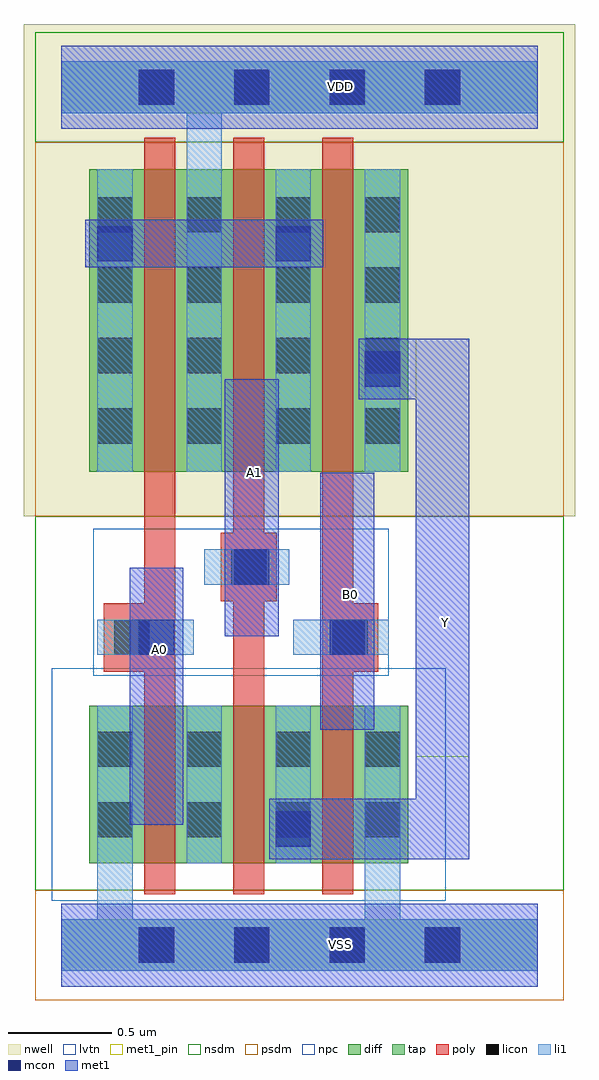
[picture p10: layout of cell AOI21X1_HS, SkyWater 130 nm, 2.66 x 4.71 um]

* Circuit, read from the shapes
.subckt AOI21X1_HS A0 A1 B0 VDD VSS Y
XM1 n1 A0 VSS VSS sky130_fd_pr__nfet_01v8_lvt w=0.76 l=0.15
XM2 Y A1 n1 VSS sky130_fd_pr__nfet_01v8_lvt w=0.76 l=0.15
XM3 VSS B0 Y VSS sky130_fd_pr__nfet_01v8_lvt w=0.76 l=0.15
XM4 VDD A0 n2 VDD sky130_fd_pr__pfet_01v8 w=1.46 l=0.15
XM5 n2 A1 VDD VDD sky130_fd_pr__pfet_01v8 w=1.46 l=0.15
XM6 Y B0 n2 VDD sky130_fd_pr__pfet_01v8 w=1.46 l=0.15
.ends

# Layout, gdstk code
import gdstk
lib = gdstk.Library(unit=1e-6, precision=1e-09)
def R(c, l, rs):  # rectangles x0, y0, x1, y1
    for r in rs: c.add(gdstk.rectangle(r[:2], r[2:], *l))
def A(c, l, x, y, w, h, nx, ny, dx, dy):  # array of equal rectangles
    R(c, l, [(x+i*dx, y+j*dy, x+i*dx+w, y+j*dy+h) for i in range(nx) for j in range(ny)])
nwell = (64, 20)
diff = (65, 20)
tap = (65, 44)
poly = (66, 20)
licon = (66, 44)
li1 = (67, 20)
mcon = (67, 44)
met1_pin = (68, 16)
met1 = (68, 20)
nsdm = (93, 44)
psdm = (94, 20)
npc = (95, 20)
lvtn = (125, 44)

l1m1_c_cdns_750721774072 = lib.new_cell('L1M1_C_CDNS_750721774072')
R(l1m1_c_cdns_750721774072, li1, [(-0.085,-0.165,0.085,0.165)])
R(l1m1_c_cdns_750721774072, mcon, [(-0.085,-0.085,0.085,0.085)])
R(l1m1_c_cdns_750721774072, met1, [(-0.115,-0.145,0.115,0.145)])

l1m1_c_cdns_750721774071 = lib.new_cell('L1M1_C_CDNS_7507217740713')
R(l1m1_c_cdns_750721774071, li1, [(-0.085,-0.165,0.085,0.165)])
R(l1m1_c_cdns_750721774071, mcon, [(-0.085,-0.085,0.085,0.085)])
R(l1m1_c_cdns_750721774071, met1, [(-0.145,-0.115,0.145,0.115)])

pyl1con_c_cdns_750721774 = lib.new_cell('PYL1CON_C_CDNS_750721774073')
R(pyl1con_c_cdns_750721774, poly, [(-0.135,-0.165,0.135,0.165)])
R(pyl1con_c_cdns_750721774, licon, [(-0.085,-0.085,0.085,0.085)])
R(pyl1con_c_cdns_750721774, npc, [(-0.185,-0.185,0.185,0.185)])

l1m1_c_cdns_750721774074 = lib.new_cell('L1M1_C_CDNS_750721774074')
R(l1m1_c_cdns_750721774074, li1, [(-0.165,-0.085,0.165,0.085)])
R(l1m1_c_cdns_750721774074, mcon, [(-0.085,-0.085,0.085,0.085)])
R(l1m1_c_cdns_750721774074, met1, [(-0.115,-0.145,0.115,0.145)])

aoi21x1_hs = lib.new_cell('AOI21X1_HS')
R(aoi21x1_hs, nwell, [(-0.18,2.07,2.48,4.305), (-0.045,2.105,0.785,3.925), (0.425,2.105,1.385,3.925), (1.025,2.105,1.855,3.925), (-0.18,3.875,2.48,4.445)])
A(aoi21x1_hs, diff, 0.4, 0.395, 0.15, 0.76, 3, 1, 0.43, 0)
A(aoi21x1_hs, diff, 0.4, 2.285, 0.15, 1.46, 3, 1, 0.43, 0)
R(aoi21x1_hs, diff, [(0.135,0.395,0.4,1.155), (0.55,0.395,0.605,1.155), (0.605,0.395,0.83,1.155), (0.98,0.395,1.205,1.155), (1.205,0.395,1.26,1.155), (1.41,0.395,1.675,1.155), (0.135,2.285,0.4,3.745), (0.55,2.285,0.605,3.745), (0.605,2.285,0.83,3.745), (0.98,2.285,1.205,3.745), (1.205,2.285,1.26,3.745), (1.41,2.285,1.675,3.745)])
A(aoi21x1_hs, poly, 0.4, 0.245, 0.15, 0.055, 3, 2, 0.43, 1.005)
A(aoi21x1_hs, poly, 0.4, 0.3, 0.15, 0.095, 3, 2, 0.43, 0.855)
A(aoi21x1_hs, poly, 0.4, 0.395, 0.15, 0.76, 3, 1, 0.43, 0)
A(aoi21x1_hs, poly, 0.4, 2.135, 0.15, 0.055, 3, 2, 0.43, 1.705)
A(aoi21x1_hs, poly, 0.4, 2.19, 0.15, 0.095, 3, 2, 0.43, 1.555)
A(aoi21x1_hs, poly, 0.4, 2.285, 0.15, 1.46, 3, 1, 0.43, 0)
A(aoi21x1_hs, licon, 0.375, -0.085, 0.17, 0.17, 4, 2, 0.46, 4.14)
A(aoi21x1_hs, licon, 0.175, 0.52, 0.17, 0.17, 4, 2, 0.43, 0.34)
A(aoi21x1_hs, licon, 0.175, 2.42, 0.17, 0.17, 4, 4, 0.43, 0.34)
A(aoi21x1_hs, li1, 0.175, 2.285, 0.17, 1.46, 4, 1, 0.43, 0)
R(aoi21x1_hs, li1, [(0.175,0.395,0.345,1.155), (1.035,0.395,1.205,1.155), (1.465,0.395,1.635,1.155)])
A(aoi21x1_hs, mcon, 0.375, -0.085, 0.17, 0.17, 4, 2, 0.46, 4.14)
R(aoi21x1_hs, met1_pin, [(0.33,0.58,0.59,1.82), (1.71,0.91,1.97,2.925), (1.25,1.04,1.51,2.28), (0.79,1.49,1.05,2.73)])
A(aoi21x1_hs, nsdm, -0.005, 0.265, 0.62, 1.02, 3, 1, 0.6, 0)
R(aoi21x1_hs, nsdm, [(-0.125,0.265,2.425,2.07), (-0.125,3.875,2.425,4.405), (-0.125,3.93,2.425,4.35)])
A(aoi21x1_hs, psdm, -0.005, 2.155, 0.62, 1.72, 3, 1, 0.6, 0)
R(aoi21x1_hs, psdm, [(-0.125,-0.265,2.425,0.265), (-0.125,-0.21,2.425,0.21), (-0.125,2.07,2.425,3.875)])
R(aoi21x1_hs, npc, [(0.155,1.3,1.58,2.01)])
R(aoi21x1_hs, lvtn, [(-0.045,0.215,0.785,1.335), (0.425,0.215,1.385,1.335), (1.025,0.215,1.855,1.335)])
aoi21x1_hs.add(gdstk.FlexPath([(1.335,1.485),(1.395,1.485)], 0.15, ends=(0.075, 0), simple_path=True, layer=66, datatype=20))  # poly
aoi21x1_hs.add(gdstk.FlexPath([(1.335,1.305),(1.335,1.485)], 0.15, ends=(0, 0.075), simple_path=True, layer=66, datatype=20))  # poly
aoi21x1_hs.add(gdstk.FlexPath([(1.335,1.5),(1.335,2.27)], 0.15, ends="flush", simple_path=True, layer=66, datatype=20))  # poly
aoi21x1_hs.add(gdstk.FlexPath([(0.905,2.27),(0.905,1.305)], 0.15, ends="flush", simple_path=True, layer=66, datatype=20))  # poly
aoi21x1_hs.add(gdstk.FlexPath([(0.475,2.27),(0.475,1.305)], 0.15, ends="flush", simple_path=True, layer=66, datatype=20))  # poly
aoi21x1_hs.add(gdstk.FlexPath([(1.55,0),(2.3,0)], 0.25, ends=(0.085, 0), simple_path=True, layer=67, datatype=20))  # li1
aoi21x1_hs.add(gdstk.FlexPath([(0.26,0),(1.55,0)], 0.25, ends=(0.085, 0.085), simple_path=True, layer=67, datatype=20))  # li1
aoi21x1_hs.add(gdstk.FlexPath([(0.69,4.14),(2.3,4.14)], 0.25, ends=(0.085, 0), simple_path=True, layer=67, datatype=20))  # li1
aoi21x1_hs.add(gdstk.FlexPath([(0,4.14),(0.69,4.14)], 0.25, ends=(0, 0.085), simple_path=True, layer=67, datatype=20))  # li1
aoi21x1_hs.add(gdstk.FlexPath([(1.55,0.59),(1.55,0)], 0.17, ends=(0, 0.125), simple_path=True, layer=67, datatype=20))  # li1
aoi21x1_hs.add(gdstk.FlexPath([(0.69,3.55),(0.69,4.14)], 0.17, ends=(0, 0.125), simple_path=True, layer=67, datatype=20))  # li1
aoi21x1_hs.add(gdstk.FlexPath([(0.26,0.59),(0.26,0)], 0.17, ends=(0, 0.125), simple_path=True, layer=67, datatype=20))  # li1
aoi21x1_hs.add(gdstk.FlexPath([(0,0),(0.26,0)], 0.25, ends=(0, 0.085), simple_path=True, layer=67, datatype=20))  # li1
aoi21x1_hs.add(gdstk.FlexPath([(0.175,1.485),(0.525,1.485)], 0.17, ends="flush", simple_path=True, layer=67, datatype=20))  # li1
aoi21x1_hs.add(gdstk.FlexPath([(1.12,1.485),(1.58,1.485)], 0.17, ends="flush", simple_path=True, layer=67, datatype=20))  # li1
aoi21x1_hs.add(gdstk.FlexPath([(0.69,1.825),(1.09,1.825)], 0.17, ends="flush", simple_path=True, layer=67, datatype=20))  # li1
aoi21x1_hs.add(gdstk.FlexPath([(1.215,1.485),(1.56,1.485)], 0.17, ends="flush", simple_path=True, layer=67, datatype=20))  # li1
aoi21x1_hs.add(gdstk.FlexPath([(0.295,1.485),(0.64,1.485)], 0.17, ends="flush", simple_path=True, layer=67, datatype=20))  # li1
aoi21x1_hs.add(gdstk.FlexPath([(0.755,1.825),(1.1,1.825)], 0.17, ends="flush", simple_path=True, layer=67, datatype=20))  # li1
aoi21x1_hs.add(gdstk.FlexPath([(0.69,0.395),(0.69,1.155)], 0.17, ends="flush", simple_path=True, layer=67, datatype=20))  # li1
aoi21x1_hs.add(gdstk.FlexPath([(0,4.14),(2.3,4.14)], 0.4, ends="flush", simple_path=True, layer=68, datatype=16))  # met1_pin
aoi21x1_hs.add(gdstk.FlexPath([(0,0),(2.3,0)], 0.4, ends="flush", simple_path=True, layer=68, datatype=16))  # met1_pin
aoi21x1_hs.add(gdstk.FlexPath([(0,4.14),(2.3,4.14)], 0.4, ends="flush", simple_path=True, layer=68, datatype=20))  # met1
aoi21x1_hs.add(gdstk.FlexPath([(1.84,2.78),(1.55,2.78)], 0.29, ends="flush", simple_path=True, layer=68, datatype=20))  # met1
aoi21x1_hs.add(gdstk.FlexPath([(0.46,1.82),(0.46,0.58)], 0.26, ends="flush", simple_path=True, layer=68, datatype=20))  # met1
aoi21x1_hs.add(gdstk.FlexPath([(1.84,0.56),(1.12,0.56)], 0.29, ends=(0.13, 0.115), simple_path=True, layer=68, datatype=20))  # met1
aoi21x1_hs.add(gdstk.FlexPath([(1.84,2.925),(1.84,0.755)], 0.26, ends=(0, 0.145), simple_path=True, layer=68, datatype=20))  # met1
aoi21x1_hs.add(gdstk.FlexPath([(0,0),(2.3,0)], 0.4, ends="flush", simple_path=True, layer=68, datatype=20))  # met1
aoi21x1_hs.add(gdstk.FlexPath([(0.92,1.49),(0.92,2.73)], 0.26, ends="flush", simple_path=True, layer=68, datatype=20))  # met1
aoi21x1_hs.add(gdstk.FlexPath([(1.38,2.28),(1.38,1.04)], 0.26, ends="flush", simple_path=True, layer=68, datatype=20))  # met1
aoi21x1_hs.add(gdstk.FlexPath([(0.405,3.385),(0.975,3.385)], 0.23, ends="flush", simple_path=True, layer=68, datatype=20))  # met1
aoi21x1_hs.add(gdstk.FlexPath([(0,4.14),(2.3,4.14)], 0.25, ends="flush", simple_path=True, layer=65, datatype=44))  # tap
aoi21x1_hs.add(gdstk.FlexPath([(0,0),(2.3,0)], 0.25, ends="flush", simple_path=True, layer=65, datatype=44))  # tap
aoi21x1_hs.add(gdstk.Reference(l1m1_c_cdns_750721774072, (1.55,2.78)))
aoi21x1_hs.add(gdstk.Reference(l1m1_c_cdns_750721774072, (1.12,0.56)))
aoi21x1_hs.add(gdstk.Reference(l1m1_c_cdns_750721774071, (1.12,3.385)))
aoi21x1_hs.add(gdstk.Reference(l1m1_c_cdns_750721774071, (0.26,3.385)))
aoi21x1_hs.add(gdstk.Reference(pyl1con_c_cdns_750721774, (0.905,1.825)))
aoi21x1_hs.add(gdstk.Reference(pyl1con_c_cdns_750721774, (0.34,1.485)))
aoi21x1_hs.add(gdstk.Reference(pyl1con_c_cdns_750721774, (1.395,1.485)))
aoi21x1_hs.add(gdstk.Reference(l1m1_c_cdns_750721774074, (0.92,1.825), x_reflection=True))
aoi21x1_hs.add(gdstk.Reference(l1m1_c_cdns_750721774074, (0.46,1.485)))
aoi21x1_hs.add(gdstk.Reference(l1m1_c_cdns_750721774074, (1.38,1.485)))
aoi21x1_hs.add(gdstk.Label('A0', (0.475,1.425), layer=68, texttype=5))
aoi21x1_hs.add(gdstk.Label('A1', (0.935,2.28), layer=68, texttype=5))
aoi21x1_hs.add(gdstk.Label('Y', (1.855,1.555), layer=68, texttype=5))
aoi21x1_hs.add(gdstk.Label('B0', (1.395,1.69), layer=68, texttype=5))
aoi21x1_hs.add(gdstk.Label('VSS', (1.35,0.005), layer=68, texttype=5))
aoi21x1_hs.add(gdstk.Label('VDD', (1.35,4.145), layer=68, texttype=5))

lib.write_gds('AOI21X1_HS.gds')
